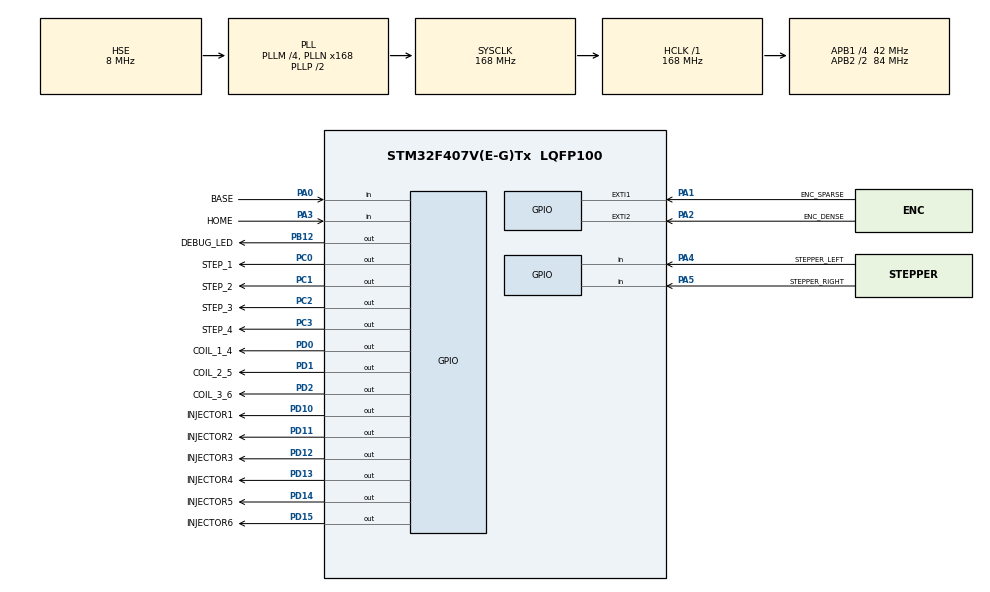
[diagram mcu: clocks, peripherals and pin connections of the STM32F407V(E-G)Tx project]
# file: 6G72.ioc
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Mcu.Family=STM32F4
Mcu.Name=STM32F407V(E-G)Tx
Mcu.Package=LQFP100
NVIC.EXTI1_IRQn=true\:2\:0\:true\:false\:true\:true\:true\:true
NVIC.EXTI2_IRQn=true\:3\:0\:true\:false\:true\:true\:true\:true
NVIC.PriorityGroup=NVIC_PRIORITYGROUP_4
NVIC.TIM6_DAC_IRQn=true\:10\:0\:true\:false\:true\:true\:true\:true
NVIC.TIM7_IRQn=true\:1\:0\:true\:false\:true\:true\:true\:true
NVIC.TIM8_UP_TIM13_IRQn=true\:4\:0\:true\:false\:true\:true\:true\:true
PA0-WKUP.GPIO_Label=BASE
PA0-WKUP.Signal=GPIO_Input
PA1.GPIO_Label=ENC_SPARSE
PA1.GPIO_ModeDefaultEXTI=GPIO_MODE_IT_RISING_FALLING
PA1.Signal=GPXTI1
PA2.GPIO_Label=ENC_DENSE
PA2.GPIO_ModeDefaultEXTI=GPIO_MODE_IT_RISING_FALLING
PA2.Signal=GPXTI2
PA3.GPIO_Label=HOME
PA3.Signal=GPIO_Input
PA4.GPIO_Label=STEPPER_LEFT
PA4.Signal=GPIO_Input
PA5.GPIO_Label=STEPPER_RIGHT
PA5.Signal=GPIO_Input
PB12.GPIO_Label=DEBUG_LED
PB12.Signal=GPIO_Output
PC0.GPIO_Label=STEP_1
PC0.Signal=GPIO_Output
PC1.GPIO_Label=STEP_2
PC1.Signal=GPIO_Output
PC2.GPIO_Label=STEP_3
PC2.Signal=GPIO_Output
PC3.GPIO_Label=STEP_4
PC3.Signal=GPIO_Output
PD0.GPIO_Label=COIL_1_4
PD0.GPIO_ModeDefaultOutputPP=GPIO_MODE_OUTPUT_OD
PD0.GPIO_PuPd=GPIO_NOPULL
PD0.GPIO_Speed=GPIO_SPEED_FREQ_MEDIUM
PD0.PinState=GPIO_PIN_SET
PD0.Signal=GPIO_Output
PD1.GPIO_Label=COIL_2_5
PD1.GPIO_ModeDefaultOutputPP=GPIO_MODE_OUTPUT_OD
PD1.GPIO_PuPd=GPIO_NOPULL
PD1.GPIO_Speed=GPIO_SPEED_FREQ_MEDIUM
PD1.PinState=GPIO_PIN_SET
PD1.Signal=GPIO_Output
PD10.GPIO_Label=INJECTOR1
PD10.Signal=GPIO_Output
PD11.GPIO_Label=INJECTOR2
PD11.Signal=GPIO_Output
PD12.GPIO_Label=INJECTOR3
PD12.Signal=GPIO_Output
PD13.GPIO_Label=INJECTOR4
PD13.Signal=GPIO_Output
PD14.GPIO_Label=INJECTOR5
PD14.Signal=GPIO_Output
PD15.GPIO_Label=INJECTOR6
PD15.Signal=GPIO_Output
PD2.GPIO_Label=COIL_3_6
PD2.GPIO_ModeDefaultOutputPP=GPIO_MODE_OUTPUT_OD
PD2.GPIO_PuPd=GPIO_NOPULL
PD2.GPIO_Speed=GPIO_SPEED_FREQ_MEDIUM
PD2.PinState=GPIO_PIN_SET
PD2.Signal=GPIO_Output
PH0-OSC_IN.Mode=HSE-External-Oscillator
PH0-OSC_IN.Signal=RCC_OSC_IN
PH1-OSC_OUT.Mode=HSE-External-Oscillator
PH1-OSC_OUT.Signal=RCC_OSC_OUT
ProjectManager.HeapSize=0x200
ProjectManager.StackSize=0x400
ProjectManager.TargetToolchain=STM32CubeIDE
RCC.48MHZClocksFreq_Value=84000000
RCC.AHBFreq_Value=168000000
RCC.APB1CLKDivider=RCC_HCLK_DIV4
RCC.APB1Freq_Value=42000000
RCC.APB1TimFreq_Value=84000000
RCC.APB2CLKDivider=RCC_HCLK_DIV2
RCC.APB2Freq_Value=84000000
RCC.APB2TimFreq_Value=168000000
RCC.CortexFreq_Value=168000000
RCC.HCLKFreq_Value=168000000
RCC.HSE_VALUE=8000000
RCC.HSI_VALUE=16000000
RCC.LSE_VALUE=32768
RCC.PLLM=4
RCC.PLLN=168
RCC.PLLSourceVirtual=RCC_PLLSOURCE_HSE
RCC.SYSCLKFreq_VALUE=168000000
RCC.SYSCLKSource=RCC_SYSCLKSOURCE_PLLCLK
RCC.VCOOutputFreq_Value=336000000
TIM13.Prescaler=83
TIM6.Period=167
TIM6.Prescaler=999
TIM7.Period=1500
TIM7.Prescaler=83
VP_TIM13_VS_ClockSourceINT.Mode=Enable_Timer
VP_TIM6_VS_ClockSourceINT.Mode=Enable_Timer
VP_TIM7_VS_ClockSourceINT.Mode=Enable_Timer
VP_TIM7_VS_OPM.Mode=OPM_bit
board=custom

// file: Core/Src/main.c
/* USER CODE BEGIN Header */
/**
  ******************************************************************************
  * @file           : main.c
  * @brief          : Main program body
  ******************************************************************************
  * @attention
  *
  * Copyright (c) 2026 STMicroelectronics.
  * All rights reserved.
  *
  * This software is licensed under terms that can be found in the LICENSE file
  * in the root directory of this software component.
  * If no LICENSE file comes with this software, it is provided AS-IS.
  *
  ******************************************************************************
  */
/* USER CODE END Header */
#include "main.h"
#include "tim.h"
#include "gpio.h"

/* USER CODE BEGIN Includes */
#include "stepper_motor.h"
#include "enc_timing.h"
#include "dwt_timer.h"
/* USER CODE END Includes */

/* USER CODE BEGIN PV */
stepper_motor_t throttle_stepper_motor;
engine_position_and_timing pos;
/* USER CODE END PV */

void SystemClock_Config(void);

int main(void)
{

  /* MCU Configuration--------------------------------------------------------*/

  /* Reset of all peripherals, Initializes the Flash interface and the Systick. */
  HAL_Init();

  /* Configure the system clock */
  SystemClock_Config();

  /* Initialize all configured peripherals */
  MX_GPIO_Init();
  MX_TIM6_Init();
  MX_TIM7_Init();
  MX_TIM13_Init();
  /* USER CODE BEGIN 2 */
  	  HAL_TIM_Base_Init(&htim6);
  	  HAL_TIM_Base_Init(&htim7);
  	  stepper_motor_controller_init(&throttle_stepper_motor);
	  DWT_Init();
  	  base_stepper_motor(&throttle_stepper_motor);

  /* USER CODE END 2 */

  /* Infinite loop */
  /* USER CODE BEGIN WHILE */
  while (1)
  {
//	  if (pos.spin_wtdg){
//
//	  	  }
	  HAL_Delay(250);
//	  if (!(pos.spin_wtdg)){
//
//	  }

	  HAL_GPIO_TogglePin(DEBUG_LED_GPIO_Port, DEBUG_LED_Pin);

    /* USER CODE END WHILE */

  }
}

void SystemClock_Config(void)
{
  RCC_OscInitTypeDef RCC_OscInitStruct = {0};
  RCC_ClkInitTypeDef RCC_ClkInitStruct = {0};

  /** Configure the main internal regulator output voltage
  */
  __HAL_RCC_PWR_CLK_ENABLE();
  __HAL_PWR_VOLTAGESCALING_CONFIG(PWR_REGULATOR_VOLTAGE_SCALE1);

  /** Initializes the RCC Oscillators according to the specified parameters
  * in the RCC_OscInitTypeDef structure.
  */
  RCC_OscInitStruct.OscillatorType = RCC_OSCILLATORTYPE_HSE;
  RCC_OscInitStruct.HSEState = RCC_HSE_ON;
  RCC_OscInitStruct.PLL.PLLState = RCC_PLL_ON;
  RCC_OscInitStruct.PLL.PLLSource = RCC_PLLSOURCE_HSE;
  RCC_OscInitStruct.PLL.PLLM = 4;
  RCC_OscInitStruct.PLL.PLLN = 168;
  RCC_OscInitStruct.PLL.PLLP = RCC_PLLP_DIV2;
  RCC_OscInitStruct.PLL.PLLQ = 4;
  if (HAL_RCC_OscConfig(&RCC_OscInitStruct) != HAL_OK)
  {
    Error_Handler();
  }

  /** Initializes the CPU, AHB and APB buses clocks
  */
  RCC_ClkInitStruct.ClockType = RCC_CLOCKTYPE_HCLK|RCC_CLOCKTYPE_SYSCLK
                              |RCC_CLOCKTYPE_PCLK1|RCC_CLOCKTYPE_PCLK2;
  RCC_ClkInitStruct.SYSCLKSource = RCC_SYSCLKSOURCE_PLLCLK;
  RCC_ClkInitStruct.AHBCLKDivider = RCC_SYSCLK_DIV1;
  RCC_ClkInitStruct.APB1CLKDivider = RCC_HCLK_DIV4;
  RCC_ClkInitStruct.APB2CLKDivider = RCC_HCLK_DIV2;

  if (HAL_RCC_ClockConfig(&RCC_ClkInitStruct, FLASH_LATENCY_5) != HAL_OK)
  {
    Error_Handler();
  }
}

/* USER CODE BEGIN 4 */
void HAL_TIM_PeriodElapsedCallback(TIM_HandleTypeDef *htim)
{
	if (htim->Instance == TIM6){
		stepper_motor_controller_callback(&throttle_stepper_motor);
	}
	else if (htim -> Instance == TIM7){
		TIM7->SR &= ~TIM_SR_UIF;
		start_dwell(&pos);
	}

}

void HAL_GPIO_EXTI_Callback(uint16_t GPIO_Pin)
{
  if (GPIO_Pin == ENC_DENSE_Pin){
	  dense_edge_callback(&pos);
  }
  else if (GPIO_Pin == ENC_SPARSE_Pin){
	  sparse_edge_callback(&pos);
  }

}

/* USER CODE END 4 */

void Error_Handler(void)
{
  __disable_irq();
  while (1)
  {
  }
}
